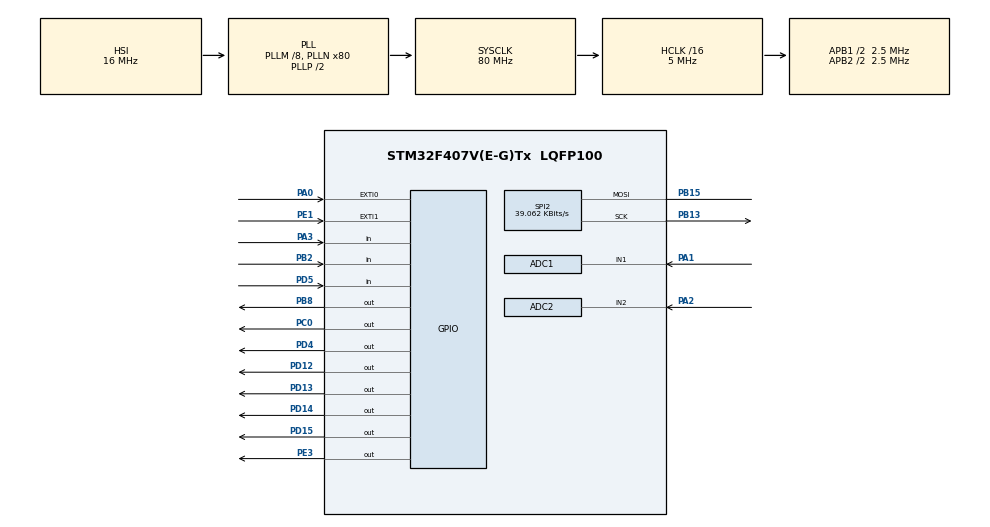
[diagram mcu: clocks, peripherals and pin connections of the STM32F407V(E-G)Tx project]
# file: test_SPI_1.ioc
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ADC1.Channel-0\#ChannelRegularConversion=ADC_CHANNEL_1
ADC1.NbrOfConversionFlag=1
ADC1.Rank-0\#ChannelRegularConversion=1
ADC1.SamplingTime-0\#ChannelRegularConversion=ADC_SAMPLETIME_3CYCLES
ADC1.master=1
ADC2.Channel-0\#ChannelRegularConversion=ADC_CHANNEL_2
ADC2.NbrOfConversionFlag=1
ADC2.Rank-0\#ChannelRegularConversion=1
ADC2.SamplingTime-0\#ChannelRegularConversion=ADC_SAMPLETIME_3CYCLES
Mcu.Family=STM32F4
Mcu.Name=STM32F407V(E-G)Tx
Mcu.Package=LQFP100
NVIC.PriorityGroup=NVIC_PRIORITYGROUP_0
PA0-WKUP.GPIO_ModeDefaultEXTI=GPIO_MODE_IT_RISING
PA0-WKUP.GPIO_PuPd=GPIO_NOPULL
PA0-WKUP.Signal=GPXTI0
PA1.Signal=ADCx_IN1
PA10.GPIO_Mode=GPIO_MODE_AF_PP
PA10.GPIO_PuPd=GPIO_NOPULL
PA10.GPIO_Speed=GPIO_SPEED_FREQ_VERY_HIGH
PA10.Signal=USB_OTG_FS_ID
PA11.GPIO_Mode=GPIO_MODE_AF_PP
PA11.GPIO_PuPd=GPIO_NOPULL
PA11.GPIO_Speed=GPIO_SPEED_FREQ_VERY_HIGH
PA11.Signal=USB_OTG_FS_DM
PA12.GPIO_Mode=GPIO_MODE_AF_PP
PA12.GPIO_PuPd=GPIO_NOPULL
PA12.GPIO_Speed=GPIO_SPEED_FREQ_VERY_HIGH
PA12.Signal=USB_OTG_FS_DP
PA13.Signal=SYS_JTMS-SWDIO
PA14.Signal=SYS_JTCK-SWCLK
PA2.Signal=ADCx_IN2
PA3.Signal=GPIO_Input
PA4.GPIO_Mode=GPIO_MODE_AF_PP
PA4.GPIO_PuPd=GPIO_NOPULL
PA4.GPIO_Speed=GPIO_SPEED_FREQ_LOW
PA4.Signal=I2S3_WS
PA5.GPIO_Mode=GPIO_MODE_AF_PP
PA5.GPIO_PuPd=GPIO_NOPULL
PA5.GPIO_Speed=GPIO_SPEED_FREQ_VERY_HIGH
PA5.Signal=SPI1_SCK
PA9.GPIO_Mode=GPIO_MODE_INPUT
PA9.GPIO_PuPd=GPIO_NOPULL
PA9.Signal=USB_OTG_FS_VBUS
PB10.GPIO_Mode=GPIO_MODE_AF_PP
PB10.GPIO_PuPd=GPIO_NOPULL
PB10.GPIO_Speed=GPIO_SPEED_FREQ_LOW
PB10.Signal=I2S2_CK
PB13.GPIO_Mode=GPIO_MODE_AF_PP
PB13.GPIO_PuPd=GPIO_PULLUP
PB13.GPIO_Speed=GPIO_SPEED_FREQ_VERY_HIGH
PB13.Mode=Simplex_Bidirectional_Master
PB13.Signal=SPI2_SCK
PB14.Signal=TIM8_CH2N
PB15.GPIO_Mode=GPIO_MODE_AF_PP
PB15.GPIO_PuPd=GPIO_PULLUP
PB15.GPIO_Speed=GPIO_SPEED_FREQ_VERY_HIGH
PB15.Mode=Simplex_Bidirectional_Master
PB15.Signal=SPI2_MOSI
PB2.GPIO_Mode=GPIO_MODE_INPUT
PB2.GPIO_PuPd=GPIO_NOPULL
PB2.Signal=GPIO_Input
PB3.Signal=SYS_JTDO-SWO
PB6.GPIO_Mode=GPIO_MODE_AF_OD
PB6.GPIO_PuPd=GPIO_NOPULL
PB6.GPIO_PuPdOD=GPIO_PULLUP
PB6.GPIO_Speed=GPIO_SPEED_FREQ_VERY_HIGH
PB6.Signal=I2C1_SCL
PB8.GPIO_ModeDefaultOutputPP=GPIO_MODE_OUTPUT_PP
PB8.GPIO_PuPd=GPIO_NOPULL
PB8.GPIO_Speed=GPIO_SPEED_FREQ_LOW
PB8.PinState=GPIO_PIN_RESET
PB8.Signal=GPIO_Output
PB9.GPIO_Mode=GPIO_MODE_AF_OD
PB9.GPIO_PuPd=GPIO_NOPULL
PB9.GPIO_PuPdOD=GPIO_PULLUP
PB9.GPIO_Speed=GPIO_SPEED_FREQ_VERY_HIGH
PB9.Signal=I2C1_SDA
PC0.GPIO_ModeDefaultOutputPP=GPIO_MODE_OUTPUT_PP
PC0.GPIO_PuPd=GPIO_NOPULL
PC0.GPIO_Speed=GPIO_SPEED_FREQ_LOW
PC0.PinState=GPIO_PIN_RESET
PC0.Signal=GPIO_Output
PC10.GPIO_Mode=GPIO_MODE_AF_PP
PC10.GPIO_PuPd=GPIO_NOPULL
PC10.GPIO_Speed=GPIO_SPEED_FREQ_LOW
PC10.Signal=I2S3_CK
PC12.GPIO_Mode=GPIO_MODE_AF_PP
PC12.GPIO_PuPd=GPIO_NOPULL
PC12.GPIO_Speed=GPIO_SPEED_FREQ_LOW
PC12.Signal=I2S3_SD
PC14-OSC32_IN.Signal=RCC_OSC32_IN
PC15-OSC32_OUT.Signal=RCC_OSC32_OUT
PC3.GPIO_Mode=GPIO_MODE_AF_PP
PC3.GPIO_PuPd=GPIO_NOPULL
PC3.GPIO_Speed=GPIO_SPEED_FREQ_LOW
PC3.Signal=I2S2_SD
PC7.GPIO_Mode=GPIO_MODE_AF_PP
PC7.GPIO_PuPd=GPIO_NOPULL
PC7.GPIO_Speed=GPIO_SPEED_FREQ_LOW
PC7.Signal=I2S3_MCK
PD12.GPIO_ModeDefaultOutputPP=GPIO_MODE_OUTPUT_PP
PD12.GPIO_PuPd=GPIO_NOPULL
PD12.GPIO_Speed=GPIO_SPEED_FREQ_LOW
PD12.PinState=GPIO_PIN_RESET
PD12.Signal=GPIO_Output
PD13.GPIO_ModeDefaultOutputPP=GPIO_MODE_OUTPUT_PP
PD13.GPIO_PuPd=GPIO_NOPULL
PD13.GPIO_Speed=GPIO_SPEED_FREQ_LOW
PD13.PinState=GPIO_PIN_RESET
PD13.Signal=GPIO_Output
PD14.GPIO_ModeDefaultOutputPP=GPIO_MODE_OUTPUT_PP
PD14.GPIO_PuPd=GPIO_NOPULL
PD14.GPIO_Speed=GPIO_SPEED_FREQ_LOW
PD14.PinState=GPIO_PIN_RESET
PD14.Signal=GPIO_Output
PD15.GPIO_ModeDefaultOutputPP=GPIO_MODE_OUTPUT_PP
PD15.GPIO_PuPd=GPIO_NOPULL
PD15.GPIO_Speed=GPIO_SPEED_FREQ_LOW
PD15.PinState=GPIO_PIN_RESET
PD15.Signal=GPIO_Output
PD4.GPIO_ModeDefaultOutputPP=GPIO_MODE_OUTPUT_PP
PD4.GPIO_PuPd=GPIO_NOPULL
PD4.GPIO_Speed=GPIO_SPEED_FREQ_LOW
PD4.PinState=GPIO_PIN_RESET
PD4.Signal=GPIO_Output
PD5.GPIO_Mode=GPIO_MODE_INPUT
PD5.GPIO_PuPd=GPIO_NOPULL
PD5.Signal=GPIO_Input
PE1.GPIO_ModeDefaultEXTI=GPIO_MODE_IT_RISING
PE1.GPIO_PuPd=GPIO_NOPULL
PE1.Signal=GPXTI1
PE3.GPIO_ModeDefaultOutputPP=GPIO_MODE_OUTPUT_PP
PE3.GPIO_PuPd=GPIO_NOPULL
PE3.GPIO_Speed=GPIO_SPEED_FREQ_LOW
PE3.PinState=GPIO_PIN_RESET
PE3.Signal=GPIO_Output
PH0-OSC_IN.Signal=RCC_OSC_IN
PH1-OSC_OUT.Signal=RCC_OSC_OUT
ProjectManager.HeapSize=0x200
ProjectManager.StackSize=0x400
ProjectManager.TargetToolchain=SW4STM32
RCC.48MHZClocksFreq_Value=22857142.85714286
RCC.AHBCLKDivider=RCC_SYSCLK_DIV16
RCC.AHBFreq_Value=5000000
RCC.APB1CLKDivider=RCC_HCLK_DIV2
RCC.APB1Freq_Value=2500000
RCC.APB1TimFreq_Value=5000000
RCC.APB2CLKDivider=RCC_HCLK_DIV2
RCC.APB2Freq_Value=2500000
RCC.APB2TimFreq_Value=5000000
RCC.CortexFreq_Value=5000000
RCC.HCLKFreq_Value=5000000
RCC.HSE_VALUE=8000000
RCC.HSI_VALUE=16000000
RCC.LSE_VALUE=32768
RCC.PLLM=8
RCC.PLLN=80
RCC.PLLQ=7
RCC.SYSCLKFreq_VALUE=80000000
RCC.SYSCLKSource=RCC_SYSCLKSOURCE_PLLCLK
RCC.VCOOutputFreq_Value=160000000
SH.ADCx_IN1.0=ADC1_IN1,IN1
SH.ADCx_IN2.0=ADC2_IN2,IN2
SPI2.BaudRatePrescaler=SPI_BAUDRATEPRESCALER_64
SPI2.CLKPhase=SPI_PHASE_1EDGE
SPI2.CLKPolarity=SPI_POLARITY_LOW
SPI2.CalculateBaudRate=39.062 KBits/s
SPI2.DataSize=SPI_DATASIZE_8BIT
SPI2.Direction=SPI_DIRECTION_1LINE
SPI2.FirstBit=SPI_FIRSTBIT_MSB
SPI2.Mode=SPI_MODE_MASTER
SPI2.VirtualType=VM_MASTER
board=STM32F4DISCOVERY

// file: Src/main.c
/**
  ******************************************************************************
  * @file           : main.c
  * @brief          : Main program body
  ******************************************************************************
  ** This notice applies to any and all portions of this file
  * that are not between comment pairs USER CODE BEGIN and
  * USER CODE END. Other portions of this file, whether
  * inserted by the user or by software development tools
  * are owned by their respective copyright owners.
  *
  * COPYRIGHT(c) 2018 STMicroelectronics
  *
  * Redistribution and use in source and binary forms, with or without modification,
  * are permitted provided that the following conditions are met:
  *   1. Redistributions of source code must retain the above copyright notice,
  *      this list of conditions and the following disclaimer.
  *   2. Redistributions in binary form must reproduce the above copyright notice,
  *      this list of conditions and the following disclaimer in the documentation
  *      and/or other materials provided with the distribution.
  *   3. Neither the name of STMicroelectronics nor the names of its contributors
  *      may be used to endorse or promote products derived from this software
  *      without specific prior written permission.
  *
  * THIS SOFTWARE IS PROVIDED BY THE COPYRIGHT HOLDERS AND CONTRIBUTORS "AS IS"
  * AND ANY EXPRESS OR IMPLIED WARRANTIES, INCLUDING, BUT NOT LIMITED TO, THE
  * IMPLIED WARRANTIES OF MERCHANTABILITY AND FITNESS FOR A PARTICULAR PURPOSE ARE
  * DISCLAIMED. IN NO EVENT SHALL THE COPYRIGHT HOLDER OR CONTRIBUTORS BE LIABLE
  * FOR ANY DIRECT, INDIRECT, INCIDENTAL, SPECIAL, EXEMPLARY, OR CONSEQUENTIAL
  * DAMAGES (INCLUDING, BUT NOT LIMITED TO, PROCUREMENT OF SUBSTITUTE GOODS OR
  * SERVICES; LOSS OF USE, DATA, OR PROFITS; OR BUSINESS INTERRUPTION) HOWEVER
  * CAUSED AND ON ANY THEORY OF LIABILITY, WHETHER IN CONTRACT, STRICT LIABILITY,
  * OR TORT (INCLUDING NEGLIGENCE OR OTHERWISE) ARISING IN ANY WAY OUT OF THE USE
  * OF THIS SOFTWARE, EVEN IF ADVISED OF THE POSSIBILITY OF SUCH DAMAGE.
  *
  ******************************************************************************
  */
#include "main.h"
#include "stm32f4xx_hal.h"

ADC_HandleTypeDef hadc1;
ADC_HandleTypeDef hadc2;

SPI_HandleTypeDef hspi2;

/* USER CODE BEGIN PV */
/* Private variables ---------------------------------------------------------*/

/* USER CODE END PV */

void SystemClock_Config(void);
static void MX_GPIO_Init(void);
static void MX_SPI2_Init(void);
static void MX_ADC1_Init(void);
static void MX_ADC2_Init(void);

/* USER CODE BEGIN PFP */
/* Private function prototypes -----------------------------------------------*/

/* USER CODE END PFP */

/* USER CODE BEGIN 0 */

/*static uint8_t presets[MAX_PRESET_NUMB][MAX_DIGITS] = {
   {0x18, 0x18, 0x18, 0x99, 0xDB, 0x7E, 0x3C, 0x18}, *< Arrow dx.
   {0x18, 0x3C, 0x7E, 0xDB, 0x99, 0x18, 0x18, 0x18}, *< Arrow sx.
   {0x00, 0x20, 0x44, 0x40, 0x40, 0x44, 0x20, 0x00}, *< Happy face.
   {0x00, 0x20, 0x14, 0x10, 0x10, 0x14, 0x20, 0x00}, *< Sad face.
   {0x00, 0x00, 0x00, 0xDF, 0xDF, 0x00, 0x00, 0x00}, *< Exclamation point.
   {0x24, 0x66, 0xE7, 0xE7, 0xE7, 0xE7, 0x66, 0x24}, *< Negate.
   {0x00, 0x84, 0x86, 0xFF, 0xFF, 0x80, 0x80, 0x00}, *< 1.
   {0x00, 0x86, 0xC7, 0xE1, 0xB1, 0x9F, 0x8E, 0x00},*< 2.
   {0x00, 0x00, 0x42, 0xC3, 0xDB, 0xFF, 0x66, 0x00}, *< 3.
   {0x00, 0x3F, 0x3F, 0x20, 0x20, 0xF8, 0xF8, 0x00}, *< 4.
   {0x00, 0xDF, 0xDB, 0xDB, 0xDB, 0xFB, 0x71, 0x00}, *< 5.
   {0x00, 0x7E, 0xFF, 0x89, 0x89, 0x89, 0x70, 0x00}, *< 6.
   {0x00, 0x03, 0x03, 0xE3, 0xFB, 0x1F, 0x07, 0x00}, *< 7.
   {0x00, 0x76, 0xFF, 0x99, 0x99, 0xFF, 0x76, 0x00}, *< 8.
   {0x00, 0x8E, 0x91, 0x91, 0x91, 0xFF, 0x7E, 0x00}, *< 9.
   {0x00, 0x7E, 0xFF, 0x81, 0x81, 0xFF, 0x7E, 0x00}, *< 0.
   {0x00, 0x06, 0x76, 0x38, 0x38, 0x76, 0x06, 0x00}  *< Creeper face.
};*/
/* USER CODE END 0 */

int main(void)
{
  /* USER CODE BEGIN 1 */
void slr_init(){
    uint8_t slr_reg1[2] = {0x0B, 0x07};
    HAL_GPIO_WritePin(GPIOB,GPIO_PIN_8,GPIO_PIN_RESET);
    HAL_SPI_Transmit(&hspi2,slr_reg1,2,100);
	for(int i = 0; i < 50; i++){} // 50 microsegundos
    HAL_GPIO_WritePin(GPIOB,GPIO_PIN_8,GPIO_PIN_SET);
}

void intensity_init()
{
    uint8_t intensity_reg1[2] = {0x05,0x0F};
    HAL_GPIO_WritePin(GPIOB,GPIO_PIN_8,GPIO_PIN_RESET);
    HAL_SPI_Transmit(&hspi2,intensity_reg1,2,100);
	for(int i = 0; i < 50; i++){} // 50 microsegundos
    HAL_GPIO_WritePin(GPIOB,GPIO_PIN_8,GPIO_PIN_SET);
}

void decode_init(){
    uint8_t decode_reg1[2] = {0x09, 0x00};
    HAL_GPIO_WritePin(GPIOB,GPIO_PIN_8,GPIO_PIN_RESET);
    HAL_SPI_Transmit(&hspi2,decode_reg1,2,100);
	for(int i = 0; i < 50; i++){} // 50 microsegundos
    HAL_GPIO_WritePin(GPIOB,GPIO_PIN_8,GPIO_PIN_SET);
}

void shutdown_init(){
    uint8_t shutdown_reg1[2] = {0x0C, 0x01};
    HAL_GPIO_WritePin(GPIOB,GPIO_PIN_8,GPIO_PIN_RESET);
    HAL_SPI_Transmit(&hspi2,shutdown_reg1,2,100);
	for(int i = 0; i < 50; i++){} // 50 microsegundos
    HAL_GPIO_WritePin(GPIOB,GPIO_PIN_8,GPIO_PIN_SET);
}

void spi_init()
{
	shutdown_init();
	slr_init();
	intensity_init();
	decode_init();
}

void transmit(uint8_t column, uint8_t data){
    uint8_t data_string [2]= {column,data};
    HAL_GPIO_WritePin(GPIOB,GPIO_PIN_8,GPIO_PIN_RESET);
    HAL_SPI_Transmit(&hspi2,data_string,2,100);
    for(int i = 0; i < 50; i++){} // 50 microsegundos
    HAL_GPIO_WritePin(GPIOB,GPIO_PIN_8,GPIO_PIN_SET);
}

void display_array_image(const uint8_t data[]){
    const int MAX_DIGITS = 8;
   // uint8_t column;
//    for (uint8_t i = 0x00; i < MAX_DIGITS; i++){
//        switch (i){
//            case 0: column=0x01;break;
//            case 1: column=0x02;break;
//            case 2: column=0x03;break;
//            case 3: column=0x04;break;
//            case 4: column=0x05;break;
//            case 5: column=0x06;break;
//            case 6: column=0x07;break;
//            case 7: column=0x08;break;
//            default: column=0x00;break;
//        }
    for(int j = 0; j < MAX_DIGITS; j++){
        transmit(j+1,data[j]);
    }
}

void block_space(int spaces[3][3], int x, int y)
{
	spaces[x][y] = 1;
}

void apply_move(uint8_t *src, uint8_t *dest)
{
	const int MAX_LED = 8;
	for (int i = 0; i < MAX_LED; i++)
	{
		dest[i] += src[i];
	}

	return;
}

void rest_at(uint8_t * cur_move, int * x, int * y, int player)
{
	for(int i = 0; i < 8; i++)
	{
		cur_move[i] = 0;
	}

	uint8_t piece[2] = {0};
	switch (player)
	{
	case -1: piece[0] = 0x01 << 3**y;
			piece[1] = 0x02 << 3**y;
			break;
	case 1:
			piece[0] = 0x02 << 3**y;
			piece[1] = 0x01 << 3**y;
			break;
	}

	switch (*x)
	{
	case 0: cur_move[0] = piece[0];
			cur_move[1] = piece[1];
			return;
	case 1: cur_move[3] = piece[0];
			cur_move[4] = piece[1];
			return;
	case 2: cur_move[6] = piece[0];
			cur_move[7] = piece[1];
			return;
	}
}

void move(char dir, uint8_t * cur_move, uint8_t * board, int * cur_x, int * cur_y, int turn)
{
	switch(dir)
	{
	case 'u': if(*cur_y != 0){*cur_y -= 1;};
			  break;
	case 'd': if(*cur_y != 2){*cur_y += 1;};
	  	  	  break;
	case 'l': if(*cur_x != 0){*cur_x -= 1;};
  	  	  	  break;
	case 'r': if(*cur_x != 2){*cur_x += 1;};
	  	  	  break;
	}
	rest_at(cur_move, cur_x, cur_y, turn);
	draw(cur_move, board);
}

void clear_screen()
{
	const uint8_t clearData[8] = {0x00,0x00,0x00,0x00,0x00,0x00,0x00,0x00};
	display_array_image(clearData);
}

void flash_once(){
    transmit(0x0C,0x00);
    //  HAL_Delay(10);
    HAL_Delay(1);
    transmit(0x0C,0X01);
    HAL_Delay(100);
    transmit(0x09,0x00);
    transmit(0x0B,0x07);

}

void set_board(uint8_t * move, uint8_t * board)
{
	uint8_t temp[8] = {0};

		// for each column, add the row data and board data
		for(int i = 0; i < 0x08; i++)
		{
			temp[i] = move[i] + board[i];
		}

	memcpy(board, &temp, 8);
}

void draw(uint8_t * move, uint8_t * board)
{
	uint8_t temp[8] = {0};

	// for each column, add the row data and board data
	for(int i = 0; i < 0x08; i++)
	{
		temp[i] = move[i] + board[i];
	}

	display_array_image(temp);
}

void update_board_spaces(int spaces[9], uint8_t * board)
{
	// reset board for fresh copy from spaces
	uint8_t empty_board[8] = {0};
	memcpy(board, &empty_board, 8);

	uint8_t cur_move[8] = {0};
	for (int i = 0; i < 9; i++)
	{ // player is -1, comp is 1, empty is 0
			int x = i % 3;
			int y = div(i, 3);
		if(spaces[i] == -1)
		{
			// figure out math for which two numbers to change moves
			rest_at(&cur_move, &x, &y, -1);
			set_board(&cur_move, &board);
		}
		else if (spaces[i] == 1)
		{
			// same as above
			rest_at(&cur_move, &x, &y, 1);
			set_board(&cur_move, &board);
		}
		// else don't do anything of course

	}
}

// here begins the TTT functions
//char gridChar(int i) {
//    switch(i) {
//        case -1:
//            return 'X';
//        case 0:
//            return ' ';
//        case 1:
//            return 'O';
//    }
//}
//
//void draw(int b[9]) {
//    printf(" %c | %c | %c\n",gridChar(b[0]),gridChar(b[1]),gridChar(b[2]));
//    printf("---+---+---\n");
//    printf(" %c | %c | %c\n",gridChar(b[3]),gridChar(b[4]),gridChar(b[5]));
//    printf("---+---+---\n");
//    printf(" %c | %c | %c\n",gridChar(b[6]),gridChar(b[7]),gridChar(b[8]));
//}

// checks the win state using the int board (in our case, spaces)
//int win(const int board[9]) {
//    //determines if a player has won, returns 0 otherwise.
//    unsigned wins[8][3] = {{0,1,2},{3,4,5},{6,7,8},{0,3,6},{1,4,7},{2,5,8},{0,4,8},{2,4,6}};
//    int i;
//    for(i = 0; i < 8; ++i) {
//        if(board[wins[i][0]] != 0 &&
//           board[wins[i][0]] == board[wins[i][1]] &&
//           board[wins[i][0]] == board[wins[i][2]])
//            return board[wins[i][2]];
//    }
//    return 0;
//}
//
//int minimax(int board[9], int player) {
//    //How is the position like for player (their turn) on board?
//    int winner = win(board);
//    if(winner != 0) return winner*player;
//
//    int move = -1;
//    int score = -2;//Losing moves are preferred to no move
//    int i;
//    for(i = 0; i < 9; ++i) {//For all moves,
//        if(board[i] == 0) {//If legal,
//            board[i] = player;//Try the move
//            int thisScore = -minimax(board, player*-1);
//            if(thisScore > score) {
//                score = thisScore;
//                move = i;
//            }//Pick the one that's worst for the opponent
//            board[i] = 0;//Reset board after try
//        }
//    }
//    if(move == -1) return 0;
//    return score;
//}
//
//void computerMove(int board[9]) {
//    int move = -1;
//    int score = -2;
//    int i;
//    for(i = 0; i < 9; ++i) {
//        if(board[i] == 0) {
//            board[i] = 1;
//            int tempScore = -minimax(board, -1);
//            board[i] = 0;
//            if(tempScore > score) {
//                score = tempScore;
//                move = i;
//            }
//        }
//    }
//    //returns a score based on minimax tree at a given node.
//    board[move] = 1;
//}
//
//// this computer will allow it to play itself
//void computerMove02(int board[9]) {
//    int move = -1;
//    int score = -2;
//    int i;
//    for(i = 0; i < 9; ++i) {
//        if(board[i] == 0) {
//            board[i] = -1;
//            int tempScore = -minimax(board, 1);
//            board[i] = 0;
//            if(tempScore > score) {
//                score = tempScore;
//                move = i;
//            }
//        }
//    }
//    //returns a score based on minimax tree at a given node.
//    board[move] = -1;
//}
//
//void playerMove(int board[9]) {
//    int move = 0;
//    do {
//        printf("\nInput move ([0..8]): ");
//        scanf("%d", &move);
//        printf("\n");
//    } while (move >= 9 || move < 0 && board[move] == 0);
//    board[move] = -1;
//}

// END TTT FUNCTIONS

  /* USER CODE END 1 */

  /* MCU Configuration----------------------------------------------------------*/

  /* Reset of all peripherals, Initializes the Flash interface and the Systick. */
  HAL_Init();

  /* Configure the system clock */
  SystemClock_Config();

  /* Initialize all configured peripherals */
  MX_GPIO_Init();
  MX_SPI2_Init();
  MX_ADC1_Init();
  MX_ADC2_Init();
  /* USER CODE BEGIN 2 */

    clear_screen();
    spi_init();

    // initialize global variables
//    int spaces[3][3] = {{0}};
	int spaces[9] = {0};
	int player = -1;
	int gameWon = 0;
    uint8_t board[8] = {0x24, 0x24, 0xFF, 0x24, 0x24, 0xFF, 0x24, 0x24};
    uint8_t cur_move[8] = {0};
    int cur_x = 0;
	int cur_y = 0;
	//display_image_array(temp_board);

	//simulate a player's turn for now
	rest_at(&cur_move, &cur_x, &cur_y, player); // begin at beginning
	draw(&cur_move, &board);
	HAL_Delay(1000);
	move('r',&cur_move,&board,&cur_x,&cur_y,player);
	HAL_Delay(1000);
	move('r',&cur_move,&board,&cur_x,&cur_y,player);
	HAL_Delay(1000);
	move('d',&cur_move,&board,&cur_x,&cur_y,player);
	set_board(&cur_move, &board);

	HAL_Delay(1000);
	player = player*-1;
	cur_x = 0;
	cur_y = 0;
	rest_at(&cur_move, &cur_x, &cur_y, player); // begin at beginning
	draw(&cur_move, &board);
	HAL_Delay(1000);
	move('d',&cur_move,&board,&cur_x,&cur_y,player);
	HAL_Delay(1000);
	move('r',&cur_move,&board,&cur_x,&cur_y,player);
	set_board(&cur_move, &board);
	HAL_Delay(1000);

  /* USER CODE END 2 */

  /* Infinite loop */
  /* USER CODE BEGIN WHILE */
    while (1){
		display_array_image(board);
    }
}

  /* USER CODE END WHILE */

}

void SystemClock_Config(void)
{

  RCC_OscInitTypeDef RCC_OscInitStruct;
  RCC_ClkInitTypeDef RCC_ClkInitStruct;

    /**Configure the main internal regulator output voltage
    */
  __HAL_RCC_PWR_CLK_ENABLE();

  __HAL_PWR_VOLTAGESCALING_CONFIG(PWR_REGULATOR_VOLTAGE_SCALE1);

    /**Initializes the CPU, AHB and APB busses clocks
    */
  RCC_OscInitStruct.OscillatorType = RCC_OSCILLATORTYPE_HSI;
  RCC_OscInitStruct.HSIState = RCC_HSI_ON;
  RCC_OscInitStruct.HSICalibrationValue = 16;
  RCC_OscInitStruct.PLL.PLLState = RCC_PLL_ON;
  RCC_OscInitStruct.PLL.PLLSource = RCC_PLLSOURCE_HSI;
  RCC_OscInitStruct.PLL.PLLM = 8;
  RCC_OscInitStruct.PLL.PLLN = 80;
  RCC_OscInitStruct.PLL.PLLP = RCC_PLLP_DIV2;
  RCC_OscInitStruct.PLL.PLLQ = 7;
  if (HAL_RCC_OscConfig(&RCC_OscInitStruct) != HAL_OK)
  {
    _Error_Handler(__FILE__, __LINE__);
  }

    /**Initializes the CPU, AHB and APB busses clocks
    */
  RCC_ClkInitStruct.ClockType = RCC_CLOCKTYPE_HCLK|RCC_CLOCKTYPE_SYSCLK
                              |RCC_CLOCKTYPE_PCLK1|RCC_CLOCKTYPE_PCLK2;
  RCC_ClkInitStruct.SYSCLKSource = RCC_SYSCLKSOURCE_PLLCLK;
  RCC_ClkInitStruct.AHBCLKDivider = RCC_SYSCLK_DIV16;
  RCC_ClkInitStruct.APB1CLKDivider = RCC_HCLK_DIV2;
  RCC_ClkInitStruct.APB2CLKDivider = RCC_HCLK_DIV2;

  if (HAL_RCC_ClockConfig(&RCC_ClkInitStruct, FLASH_LATENCY_0) != HAL_OK)
  {
    _Error_Handler(__FILE__, __LINE__);
  }

    /**Configure the Systick interrupt time
    */
  HAL_SYSTICK_Config(HAL_RCC_GetHCLKFreq()/1000);

    /**Configure the Systick
    */
  HAL_SYSTICK_CLKSourceConfig(SYSTICK_CLKSOURCE_HCLK);

  /* SysTick_IRQn interrupt configuration */
  HAL_NVIC_SetPriority(SysTick_IRQn, 0, 0);
}

/* ADC1 init function */
static void MX_ADC1_Init(void)
{

  ADC_ChannelConfTypeDef sConfig;

    /**Configure the global features of the ADC (Clock, Resolution, Data Alignment and number of conversion)
    */
  hadc1.Instance = ADC1;
  hadc1.Init.ClockPrescaler = ADC_CLOCK_SYNC_PCLK_DIV2;
  hadc1.Init.Resolution = ADC_RESOLUTION_12B;
  hadc1.Init.ScanConvMode = DISABLE;
  hadc1.Init.ContinuousConvMode = DISABLE;
  hadc1.Init.DiscontinuousConvMode = DISABLE;
  hadc1.Init.ExternalTrigConvEdge = ADC_EXTERNALTRIGCONVEDGE_NONE;
  hadc1.Init.ExternalTrigConv = ADC_SOFTWARE_START;
  hadc1.Init.DataAlign = ADC_DATAALIGN_RIGHT;
  hadc1.Init.NbrOfConversion = 1;
  hadc1.Init.DMAContinuousRequests = DISABLE;
  hadc1.Init.EOCSelection = ADC_EOC_SINGLE_CONV;
  if (HAL_ADC_Init(&hadc1) != HAL_OK)
  {
    _Error_Handler(__FILE__, __LINE__);
  }

    /**Configure for the selected ADC regular channel its corresponding rank in the sequencer and its sample time.
    */
  sConfig.Channel = ADC_CHANNEL_1;
  sConfig.Rank = 1;
  sConfig.SamplingTime = ADC_SAMPLETIME_3CYCLES;
  if (HAL_ADC_ConfigChannel(&hadc1, &sConfig) != HAL_OK)
  {
    _Error_Handler(__FILE__, __LINE__);
  }

}

/* ADC2 init function */
static void MX_ADC2_Init(void)
{

  ADC_ChannelConfTypeDef sConfig;

    /**Configure the global features of the ADC (Clock, Resolution, Data Alignment and number of conversion)
    */
  hadc2.Instance = ADC2;
  hadc2.Init.ClockPrescaler = ADC_CLOCK_SYNC_PCLK_DIV2;
  hadc2.Init.Resolution = ADC_RESOLUTION_12B;
  hadc2.Init.ScanConvMode = DISABLE;
  hadc2.Init.ContinuousConvMode = DISABLE;
  hadc2.Init.DiscontinuousConvMode = DISABLE;
  hadc2.Init.ExternalTrigConvEdge = ADC_EXTERNALTRIGCONVEDGE_NONE;
  hadc2.Init.ExternalTrigConv = ADC_SOFTWARE_START;
  hadc2.Init.DataAlign = ADC_DATAALIGN_RIGHT;
  hadc2.Init.NbrOfConversion = 1;
  hadc2.Init.DMAContinuousRequests = DISABLE;
  hadc2.Init.EOCSelection = ADC_EOC_SINGLE_CONV;
  if (HAL_ADC_Init(&hadc2) != HAL_OK)
  {
    _Error_Handler(__FILE__, __LINE__);
  }

    /**Configure for the selected ADC regular channel its corresponding rank in the sequencer and its sample time.
    */
  sConfig.Channel = ADC_CHANNEL_2;
  sConfig.Rank = 1;
  sConfig.SamplingTime = ADC_SAMPLETIME_3CYCLES;
  if (HAL_ADC_ConfigChannel(&hadc2, &sConfig) != HAL_OK)
  {
    _Error_Handler(__FILE__, __LINE__);
  }

}

/* SPI2 init function */
static void MX_SPI2_Init(void)
{

  /* SPI2 parameter configuration*/
  hspi2.Instance = SPI2;
  hspi2.Init.Mode = SPI_MODE_MASTER;
  hspi2.Init.Direction = SPI_DIRECTION_1LINE;
  hspi2.Init.DataSize = SPI_DATASIZE_8BIT;
  hspi2.Init.CLKPolarity = SPI_POLARITY_LOW;
  hspi2.Init.CLKPhase = SPI_PHASE_1EDGE;
  hspi2.Init.NSS = SPI_NSS_SOFT;
  hspi2.Init.BaudRatePrescaler = SPI_BAUDRATEPRESCALER_64;
  hspi2.Init.FirstBit = SPI_FIRSTBIT_MSB;
  hspi2.Init.TIMode = SPI_TIMODE_DISABLE;
  hspi2.Init.CRCCalculation = SPI_CRCCALCULATION_DISABLE;
  hspi2.Init.CRCPolynomial = 10;
  if (HAL_SPI_Init(&hspi2) != HAL_OK)
  {
    _Error_Handler(__FILE__, __LINE__);
  }

}

/** Configure pins as
        * Analog
        * Input
        * Output
        * EVENT_OUT
        * EXTI
     PC3   ------> I2S2_SD
     PA4   ------> I2S3_WS
     PA5   ------> SPI1_SCK
     PB10   ------> I2S2_CK
     PB14   ------> TIM8_CH2N
     PC7   ------> I2S3_MCK
     PA9   ------> USB_OTG_FS_VBUS
     PA10   ------> USB_OTG_FS_ID
     PA11   ------> USB_OTG_FS_DM
     PA12   ------> USB_OTG_FS_DP
     PC10   ------> I2S3_CK
     PC12   ------> I2S3_SD
     PB6   ------> I2C1_SCL
     PB9   ------> I2C1_SDA
*/
static void MX_GPIO_Init(void)
{

  GPIO_InitTypeDef GPIO_InitStruct;

  /* GPIO Ports Clock Enable */
  __HAL_RCC_GPIOE_CLK_ENABLE();
  __HAL_RCC_GPIOC_CLK_ENABLE();
  __HAL_RCC_GPIOH_CLK_ENABLE();
  __HAL_RCC_GPIOA_CLK_ENABLE();
  __HAL_RCC_GPIOB_CLK_ENABLE();
  __HAL_RCC_GPIOD_CLK_ENABLE();

  /*Configure GPIO pin Output Level */
  HAL_GPIO_WritePin(GPIOE, GPIO_PIN_3, GPIO_PIN_RESET);

  /*Configure GPIO pin Output Level */
  HAL_GPIO_WritePin(GPIOC, GPIO_PIN_0, GPIO_PIN_RESET);

  /*Configure GPIO pin Output Level */
  HAL_GPIO_WritePin(GPIOD, GPIO_PIN_12|GPIO_PIN_13|GPIO_PIN_14|GPIO_PIN_15
                          |GPIO_PIN_4, GPIO_PIN_RESET);

  /*Configure GPIO pin Output Level */
  HAL_GPIO_WritePin(GPIOB, GPIO_PIN_8, GPIO_PIN_RESET);

  /*Configure GPIO pin : PE3 */
  GPIO_InitStruct.Pin = GPIO_PIN_3;
  GPIO_InitStruct.Mode = GPIO_MODE_OUTPUT_PP;
  GPIO_InitStruct.Pull = GPIO_NOPULL;
  GPIO_InitStruct.Speed = GPIO_SPEED_FREQ_LOW;
  HAL_GPIO_Init(GPIOE, &GPIO_InitStruct);

  /*Configure GPIO pin : PC0 */
  GPIO_InitStruct.Pin = GPIO_PIN_0;
  GPIO_InitStruct.Mode = GPIO_MODE_OUTPUT_PP;
  GPIO_InitStruct.Pull = GPIO_NOPULL;
  GPIO_InitStruct.Speed = GPIO_SPEED_FREQ_LOW;
  HAL_GPIO_Init(GPIOC, &GPIO_InitStruct);

  /*Configure GPIO pin : PC3 */
  GPIO_InitStruct.Pin = GPIO_PIN_3;
  GPIO_InitStruct.Mode = GPIO_MODE_AF_PP;
  GPIO_InitStruct.Pull = GPIO_NOPULL;
  GPIO_InitStruct.Speed = GPIO_SPEED_FREQ_LOW;
  GPIO_InitStruct.Alternate = GPIO_AF5_SPI2;
  HAL_GPIO_Init(GPIOC, &GPIO_InitStruct);

  /*Configure GPIO pin : PA0 */
  GPIO_InitStruct.Pin = GPIO_PIN_0;
  GPIO_InitStruct.Mode = GPIO_MODE_IT_RISING;
  GPIO_InitStruct.Pull = GPIO_NOPULL;
  HAL_GPIO_Init(GPIOA, &GPIO_InitStruct);

  /*Configure GPIO pin : PA3 */
  GPIO_InitStruct.Pin = GPIO_PIN_3;
  GPIO_InitStruct.Mode = GPIO_MODE_INPUT;
  GPIO_InitStruct.Pull = GPIO_NOPULL;
  HAL_GPIO_Init(GPIOA, &GPIO_InitStruct);

  /*Configure GPIO pin : PA4 */
  GPIO_InitStruct.Pin = GPIO_PIN_4;
  GPIO_InitStruct.Mode = GPIO_MODE_AF_PP;
  GPIO_InitStruct.Pull = GPIO_NOPULL;
  GPIO_InitStruct.Speed = GPIO_SPEED_FREQ_LOW;
  GPIO_InitStruct.Alternate = GPIO_AF6_SPI3;
  HAL_GPIO_Init(GPIOA, &GPIO_InitStruct);

  /*Configure GPIO pin : PA5 */
  GPIO_InitStruct.Pin = GPIO_PIN_5;
  GPIO_InitStruct.Mode = GPIO_MODE_AF_PP;
  GPIO_InitStruct.Pull = GPIO_NOPULL;
  GPIO_InitStruct.Speed = GPIO_SPEED_FREQ_VERY_HIGH;
  GPIO_InitStruct.Alternate = GPIO_AF5_SPI1;
  HAL_GPIO_Init(GPIOA, &GPIO_InitStruct);

  /*Configure GPIO pin : PB2 */
  GPIO_InitStruct.Pin = GPIO_PIN_2;
  GPIO_InitStruct.Mode = GPIO_MODE_INPUT;
  GPIO_InitStruct.Pull = GPIO_NOPULL;
  HAL_GPIO_Init(GPIOB, &GPIO_InitStruct);

  /*Configure GPIO pin : PB10 */
  GPIO_InitStruct.Pin = GPIO_PIN_10;
  GPIO_InitStruct.Mode = GPIO_MODE_AF_PP;
  GPIO_InitStruct.Pull = GPIO_NOPULL;
  GPIO_InitStruct.Speed = GPIO_SPEED_FREQ_LOW;
  GPIO_InitStruct.Alternate = GPIO_AF5_SPI2;
  HAL_GPIO_Init(GPIOB, &GPIO_InitStruct);

  /*Configure GPIO pin : PB14 */
  GPIO_InitStruct.Pin = GPIO_PIN_14;
  GPIO_InitStruct.Mode = GPIO_MODE_AF_PP;
  GPIO_InitStruct.Pull = GPIO_NOPULL;
  GPIO_InitStruct.Speed = GPIO_SPEED_FREQ_LOW;
  GPIO_InitStruct.Alternate = GPIO_AF3_TIM8;
  HAL_GPIO_Init(GPIOB, &GPIO_InitStruct);

  /*Configure GPIO pins : PD12 PD13 PD14 PD15
                           PD4 */
  GPIO_InitStruct.Pin = GPIO_PIN_12|GPIO_PIN_13|GPIO_PIN_14|GPIO_PIN_15
                          |GPIO_PIN_4;
  GPIO_InitStruct.Mode = GPIO_MODE_OUTPUT_PP;
  GPIO_InitStruct.Pull = GPIO_NOPULL;
  GPIO_InitStruct.Speed = GPIO_SPEED_FREQ_LOW;
  HAL_GPIO_Init(GPIOD, &GPIO_InitStruct);

  /*Configure GPIO pins : PC7 PC10 PC12 */
  GPIO_InitStruct.Pin = GPIO_PIN_7|GPIO_PIN_10|GPIO_PIN_12;
  GPIO_InitStruct.Mode = GPIO_MODE_AF_PP;
  GPIO_InitStruct.Pull = GPIO_NOPULL;
  GPIO_InitStruct.Speed = GPIO_SPEED_FREQ_LOW;
  GPIO_InitStruct.Alternate = GPIO_AF6_SPI3;
  HAL_GPIO_Init(GPIOC, &GPIO_InitStruct);

  /*Configure GPIO pin : PA9 */
  GPIO_InitStruct.Pin = GPIO_PIN_9;
  GPIO_InitStruct.Mode = GPIO_MODE_INPUT;
  GPIO_InitStruct.Pull = GPIO_NOPULL;
  HAL_GPIO_Init(GPIOA, &GPIO_InitStruct);

  /*Configure GPIO pins : PA10 PA11 PA12 */
  GPIO_InitStruct.Pin = GPIO_PIN_10|GPIO_PIN_11|GPIO_PIN_12;
  GPIO_InitStruct.Mode = GPIO_MODE_AF_PP;
  GPIO_InitStruct.Pull = GPIO_NOPULL;
  GPIO_InitStruct.Speed = GPIO_SPEED_FREQ_VERY_HIGH;
  GPIO_InitStruct.Alternate = GPIO_AF10_OTG_FS;
  HAL_GPIO_Init(GPIOA, &GPIO_InitStruct);

  /*Configure GPIO pin : PD5 */
  GPIO_InitStruct.Pin = GPIO_PIN_5;
  GPIO_InitStruct.Mode = GPIO_MODE_INPUT;
  GPIO_InitStruct.Pull = GPIO_NOPULL;
  HAL_GPIO_Init(GPIOD, &GPIO_InitStruct);

  /*Configure GPIO pins : PB6 PB9 */
  GPIO_InitStruct.Pin = GPIO_PIN_6|GPIO_PIN_9;
  GPIO_InitStruct.Mode = GPIO_MODE_AF_OD;
  GPIO_InitStruct.Pull = GPIO_PULLUP;
  GPIO_InitStruct.Speed = GPIO_SPEED_FREQ_VERY_HIGH;
  GPIO_InitStruct.Alternate = GPIO_AF4_I2C1;
  HAL_GPIO_Init(GPIOB, &GPIO_InitStruct);

  /*Configure GPIO pin : PB8 */
  GPIO_InitStruct.Pin = GPIO_PIN_8;
  GPIO_InitStruct.Mode = GPIO_MODE_OUTPUT_PP;
  GPIO_InitStruct.Pull = GPIO_NOPULL;
  GPIO_InitStruct.Speed = GPIO_SPEED_FREQ_LOW;
  HAL_GPIO_Init(GPIOB, &GPIO_InitStruct);

  /*Configure GPIO pin : PE1 */
  GPIO_InitStruct.Pin = GPIO_PIN_1;
  GPIO_InitStruct.Mode = GPIO_MODE_IT_RISING;
  GPIO_InitStruct.Pull = GPIO_NOPULL;
  HAL_GPIO_Init(GPIOE, &GPIO_InitStruct);

}

void _Error_Handler(char *file, int line)
{
        while(1)
        {
        }
}

/************************ (C) COPYRIGHT STMicroelectronics *****END OF FILE****/
